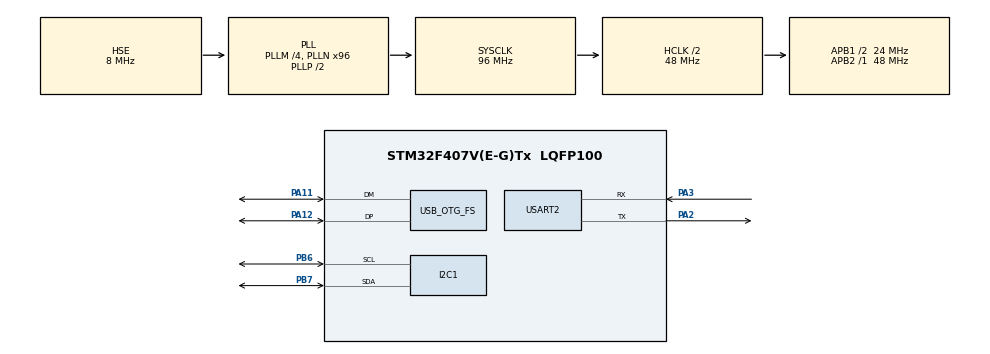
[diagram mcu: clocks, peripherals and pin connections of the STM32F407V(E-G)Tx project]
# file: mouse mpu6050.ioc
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Mcu.Family=STM32F4
Mcu.Name=STM32F407V(E-G)Tx
Mcu.Package=LQFP100
NVIC.OTG_FS_IRQn=true\:0\:0\:false\:false\:true\:false
NVIC.PriorityGroup=NVIC_PRIORITYGROUP_0
NVIC.RCC_IRQn=true\:0\:0\:false\:false\:true\:true
NVIC.USART2_IRQn=true\:0\:0\:false\:false\:true\:true
PA11.Mode=Device_Only
PA11.Signal=USB_OTG_FS_DM
PA12.Mode=Device_Only
PA12.Signal=USB_OTG_FS_DP
PA13.Mode=Serial_Wire
PA13.Signal=SYS_JTMS-SWDIO
PA14.Mode=Serial_Wire
PA14.Signal=SYS_JTCK-SWCLK
PA2.Mode=Asynchronous
PA2.Signal=USART2_TX
PA3.Mode=Asynchronous
PA3.Signal=USART2_RX
PB6.Mode=I2C
PB6.Signal=I2C1_SCL
PB7.Mode=I2C
PB7.Signal=I2C1_SDA
PH0-OSC_IN.Mode=HSE-External-Oscillator
PH0-OSC_IN.Signal=RCC_OSC_IN
PH1-OSC_OUT.Mode=HSE-External-Oscillator
PH1-OSC_OUT.Signal=RCC_OSC_OUT
ProjectManager.HeapSize=0x200
ProjectManager.StackSize=0x400
ProjectManager.TargetToolchain=MDK-ARM V5
RCC.48MHZClocksFreq_Value=48000000
RCC.AHBCLKDivider=RCC_SYSCLK_DIV2
RCC.AHBFreq_Value=48000000
RCC.APB1CLKDivider=RCC_HCLK_DIV2
RCC.APB1Freq_Value=24000000
RCC.APB1TimFreq_Value=48000000
RCC.APB2Freq_Value=48000000
RCC.APB2TimFreq_Value=48000000
RCC.CortexFreq_Value=48000000
RCC.HCLKFreq_Value=48000000
RCC.HSE_VALUE=8000000
RCC.HSI_VALUE=16000000
RCC.LSE_VALUE=32768
RCC.PLLM=4
RCC.PLLN=96
RCC.SYSCLKFreq_VALUE=96000000
RCC.SYSCLKSource=RCC_SYSCLKSOURCE_PLLCLK
RCC.VCOOutputFreq_Value=192000000
USART2.VirtualMode=VM_ASYNC
USB_DEVICE.CLASS_NAME_FS=HID
USB_DEVICE.VirtualMode-HID_FS=Hid
USB_DEVICE.VirtualModeFS=Hid_FS
USB_OTG_FS.VirtualMode=Device_Only
VP_USB_DEVICE_VS_USB_DEVICE_HID_FS.Mode=HID_FS
board=STM32F4DISCOVERY

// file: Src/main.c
/**
  ******************************************************************************
  * File Name          : main.c
  * Description        : Main program body
  ******************************************************************************
  * This notice applies to any and all portions of this file
  * that are not between comment pairs USER CODE BEGIN and
  * USER CODE END. Other portions of this file, whether
  * inserted by the user or by software development tools
  * are owned by their respective copyright owners.
  *
  * Copyright (c) 2017 STMicroelectronics International N.V.
  * All rights reserved.
  *
  * Redistribution and use in source and binary forms, with or without
  * modification, are permitted, provided that the following conditions are met:
  *
  * 1. Redistribution of source code must retain the above copyright notice,
  *    this list of conditions and the following disclaimer.
  * 2. Redistributions in binary form must reproduce the above copyright notice,
  *    this list of conditions and the following disclaimer in the documentation
  *    and/or other materials provided with the distribution.
  * 3. Neither the name of STMicroelectronics nor the names of other
  *    contributors to this software may be used to endorse or promote products
  *    derived from this software without specific written permission.
  * 4. This software, including modifications and/or derivative works of this
  *    software, must execute solely and exclusively on microcontroller or
  *    microprocessor devices manufactured by or for STMicroelectronics.
  * 5. Redistribution and use of this software other than as permitted under
  *    this license is void and will automatically terminate your rights under
  *    this license.
  *
  * THIS SOFTWARE IS PROVIDED BY STMICROELECTRONICS AND CONTRIBUTORS "AS IS"
  * AND ANY EXPRESS, IMPLIED OR STATUTORY WARRANTIES, INCLUDING, BUT NOT
  * LIMITED TO, THE IMPLIED WARRANTIES OF MERCHANTABILITY, FITNESS FOR A
  * PARTICULAR PURPOSE AND NON-INFRINGEMENT OF THIRD PARTY INTELLECTUAL PROPERTY
  * RIGHTS ARE DISCLAIMED TO THE FULLEST EXTENT PERMITTED BY LAW. IN NO EVENT
  * SHALL STMICROELECTRONICS OR CONTRIBUTORS BE LIABLE FOR ANY DIRECT, INDIRECT,
  * INCIDENTAL, SPECIAL, EXEMPLARY, OR CONSEQUENTIAL DAMAGES (INCLUDING, BUT NOT
  * LIMITED TO, PROCUREMENT OF SUBSTITUTE GOODS OR SERVICES; LOSS OF USE, DATA,
  * OR PROFITS; OR BUSINESS INTERRUPTION) HOWEVER CAUSED AND ON ANY THEORY OF
  * LIABILITY, WHETHER IN CONTRACT, STRICT LIABILITY, OR TORT (INCLUDING
  * NEGLIGENCE OR OTHERWISE) ARISING IN ANY WAY OUT OF THE USE OF THIS SOFTWARE,
  * EVEN IF ADVISED OF THE POSSIBILITY OF SUCH DAMAGE.
  *
  ******************************************************************************
  */

#include "main.h"
#include "stm32f4xx_hal.h"
#include "usb_device.h"

/* USER CODE BEGIN Includes */
#include <math.h>
#include <usbd_hid.h>
extern USBD_HandleTypeDef hUsbDeviceFS;

/* USER CODE END Includes */

I2C_HandleTypeDef hi2c1;

UART_HandleTypeDef huart2;

/* USER CODE BEGIN PV */
/* Private variables ---------------------------------------------------------*/
int gyro_x, gyro_y, gyro_z;
int16_t acc_x, acc_y, acc_z, acc_total_vector;
long acc_x_cal, acc_y_cal, acc_z_cal;
int16_t acc_x_output = 0, acc_y_output = 0, acc_z_output = 0, gyro_x_output = 0, gyro_y_output = 0, gyro_z_output = 0;
int temperature;
int gyro_x_cal, gyro_y_cal, gyro_z_cal;

long loop_timer;
int angle_pitch, angle_roll;
int angle_pitch_buffer, angle_roll_buffer;
float angle_roll_acc, angle_pitch_acc;
float angle_pitch_output, angle_roll_output;

uint8_t button[4];   		                                   	// for usb hid mouse //

void set_MPU6050_registers(void);
void read_mpu_6050_data(void);

/* USER CODE END PV */

void SystemClock_Config(void);
static void MX_GPIO_Init(void);
static void MX_I2C1_Init(void);
static void MX_USART2_UART_Init(void);

/* USER CODE BEGIN PFP */
/* Private function prototypes -----------------------------------------------*/

/* USER CODE END PFP */

int main(void)
{

  /* MCU Configuration----------------------------------------------------------*/

  /* Reset of all peripherals, Initializes the Flash interface and the Systick. */
  HAL_Init();

  /* Configure the system clock */
  SystemClock_Config();

  /* Initialize all configured peripherals */
  MX_GPIO_Init();
  MX_I2C1_Init();
  MX_USART2_UART_Init();
  MX_USB_DEVICE_Init();

  /* USER CODE BEGIN 2 */
 	button[0] = 0;				// mouse button //
	button[1] = 0;				// mouse x 	//
	button[2] = 0;				// mouse y //
  button[3] = 0;				// mouse wheel //

    set_MPU6050_registers();

	for (int cal_int = 0; cal_int < 500 ; cal_int ++){                  //Run this code 500 times
    read_mpu_6050_data();                                             //Read the raw acc and gyro data from the MPU-6050
    gyro_x_cal += gyro_x;                                             //Add the gyro x-axis offset to the gyro_x_cal variable
    gyro_y_cal += gyro_y;                                             //Add the gyro y-axis offset to the gyro_y_cal variable
    gyro_z_cal += gyro_z;                                             //Add the gyro z-axis offset to the gyro_z_cal variable
    acc_x_cal += acc_x;                                               //Add the acc x-axis offset to the acc_x_cal variable
 		acc_y_cal += acc_y;                                               //Add the acc y-axis offset to the acc_y_cal variable
		acc_z_cal += acc_z;                                               //Add the acc z-axis offset to the acc_z_cal variable

		HAL_Delay(10);                                                    //Delay 10us
  }
  gyro_x_cal /= 500;                                                  //Divide the gyro_x_cal variable by 2000 to get the avarage offset
  gyro_y_cal /= 500;                                                  //Divide the gyro_y_cal variable by 2000 to get the avarage offset
  gyro_z_cal /= 500;                                                  //Divide the gyro_z_cal variable by 2000 to get the avarage offset
	acc_x_cal /= 500;
	acc_y_cal /= 500;
	acc_z_cal /= 500;
  /* USER CODE END 2 */

  /* Infinite loop */
  while (1)
  {

  /* USER CODE BEGIN 3 */
	read_mpu_6050_data();                                                // Read the data

  gyro_x -= gyro_x_cal;                                                //Subtract the offset calibration value from the raw gyro_x value
  gyro_y -= gyro_y_cal;                                                //Subtract the offset calibration value from the raw gyro_y value
  gyro_z -= gyro_z_cal;                                                //Subtract the offset calibration value from the raw gyro_z value

	acc_x -= acc_x_cal;
	acc_y -= acc_y_cal;
	acc_z -= acc_z_cal;

	acc_x_output = 0.3 * acc_x + 0.7 * acc_x_output;                     // Applying the complementary filter
	acc_y_output = 0.3 * acc_y + 0.7 * acc_y_output;
	acc_z_output = 0.3 * acc_z + 0.7 * acc_z_output;

	gyro_x_output = 0.3 * gyro_x + 0.7 * gyro_x_output;
	gyro_y_output = 0.3 * gyro_y + 0.7 * gyro_y_output;
	gyro_z_output = 0.3 * gyro_z + 0.7 * gyro_z_output;

	HAL_Delay(10);

	/*usb mouse*/

	//left//
	if(acc_y_output > 250 ) //&& acc_x_output > -50 && acc_y_output < 250 && acc_y_output > -150 )  /* DO THRESHOLDING AS PER YOUR CONDITIONS */
	{
   button[0] = 0;				// mouse button //
 	 button[1] = -10;				// mouse x 	//
   button[2] = 0;				// mouse y //
   button[3] = 0;				// mouse wheel //

		USBD_HID_SendReport(&hUsbDeviceFS, button, 4);
		HAL_Delay(10);
	}

	//right//
	else if(acc_y_output < -200) //&& acc_x_output > -50 && acc_y_output < 400 && acc_y_output > -250 )
	{
   button[0] = 0;				// mouse button //
 	 button[1] = 10;				// mouse x 	//
   button[2] = 0;				// mouse y //
   button[3] = 0;				// mouse wheel //

		USBD_HID_SendReport(&hUsbDeviceFS, button, 4);
		HAL_Delay(10);
	}

	//up//
	else if(acc_z_output > 400) //&& acc_x_output > -400 && acc_y_output < 150 && acc_y_output > 0 )
	{
	 HAL_Delay(20);
   button[0] = 0;				// mouse button //
 	 button[1] = 0;				// mouse x 	//
   button[2] = -10;				// mouse y //
   button[3] = 0;				// mouse wheel //

	 USBD_HID_SendReport(&hUsbDeviceFS, button, 4);
	 HAL_Delay(10);
	}

		//down//
	else if(acc_z_output < -400 ) //&& acc_x_output > -450 && acc_y_output < 50 && acc_y_output > -150 )
	{
   button[0] = 0;				// mouse button //
 	 button[1] = 0;				// mouse x 	//
   button[2] = 10;				// mouse y //
   button[3] = 0;				// mouse wheel //

		USBD_HID_SendReport(&hUsbDeviceFS, button, 4);
		HAL_Delay(10);
	}
		//stop//
	else if(acc_x_output < 200 && acc_x_output > -200 && acc_y_output < 200 && acc_y_output > -200)
	{
   button[0] = 0;				// mouse button //
 	 button[1] = 0;				// mouse x 	//
   button[2] = 0;				// mouse y //
   button[3] = 0;				// mouse wheel //

		USBD_HID_SendReport(&hUsbDeviceFS, button, 4);
		HAL_Delay(10);
	}

  }
  /* USER CODE END 3 */

}

/** System Clock Configuration
*/
void SystemClock_Config(void)
{

  RCC_OscInitTypeDef RCC_OscInitStruct;
  RCC_ClkInitTypeDef RCC_ClkInitStruct;

    /**Configure the main internal regulator output voltage
    */
  __HAL_RCC_PWR_CLK_ENABLE();

  __HAL_PWR_VOLTAGESCALING_CONFIG(PWR_REGULATOR_VOLTAGE_SCALE1);

    /**Initializes the CPU, AHB and APB busses clocks
    */
  RCC_OscInitStruct.OscillatorType = RCC_OSCILLATORTYPE_HSE;
  RCC_OscInitStruct.HSEState = RCC_HSE_ON;
  RCC_OscInitStruct.PLL.PLLState = RCC_PLL_ON;
  RCC_OscInitStruct.PLL.PLLSource = RCC_PLLSOURCE_HSE;
  RCC_OscInitStruct.PLL.PLLM = 4;
  RCC_OscInitStruct.PLL.PLLN = 96;
  RCC_OscInitStruct.PLL.PLLP = RCC_PLLP_DIV2;
  RCC_OscInitStruct.PLL.PLLQ = 4;
  if (HAL_RCC_OscConfig(&RCC_OscInitStruct) != HAL_OK)
  {
    _Error_Handler(__FILE__, __LINE__);
  }

    /**Initializes the CPU, AHB and APB busses clocks
    */
  RCC_ClkInitStruct.ClockType = RCC_CLOCKTYPE_HCLK|RCC_CLOCKTYPE_SYSCLK
                              |RCC_CLOCKTYPE_PCLK1|RCC_CLOCKTYPE_PCLK2;
  RCC_ClkInitStruct.SYSCLKSource = RCC_SYSCLKSOURCE_PLLCLK;
  RCC_ClkInitStruct.AHBCLKDivider = RCC_SYSCLK_DIV2;
  RCC_ClkInitStruct.APB1CLKDivider = RCC_HCLK_DIV2;
  RCC_ClkInitStruct.APB2CLKDivider = RCC_HCLK_DIV1;

  if (HAL_RCC_ClockConfig(&RCC_ClkInitStruct, FLASH_LATENCY_1) != HAL_OK)
  {
    _Error_Handler(__FILE__, __LINE__);
  }

    /**Configure the Systick interrupt time
    */
  HAL_SYSTICK_Config(HAL_RCC_GetHCLKFreq()/1000);

    /**Configure the Systick
    */
  HAL_SYSTICK_CLKSourceConfig(SYSTICK_CLKSOURCE_HCLK);

  /* SysTick_IRQn interrupt configuration */
  HAL_NVIC_SetPriority(SysTick_IRQn, 0, 0);
}

/* I2C1 init function */
static void MX_I2C1_Init(void)
{

  hi2c1.Instance = I2C1;
  hi2c1.Init.ClockSpeed = 100000;
  hi2c1.Init.DutyCycle = I2C_DUTYCYCLE_2;
  hi2c1.Init.OwnAddress1 = 0;
  hi2c1.Init.AddressingMode = I2C_ADDRESSINGMODE_7BIT;
  hi2c1.Init.DualAddressMode = I2C_DUALADDRESS_DISABLE;
  hi2c1.Init.OwnAddress2 = 0;
  hi2c1.Init.GeneralCallMode = I2C_GENERALCALL_DISABLE;
  hi2c1.Init.NoStretchMode = I2C_NOSTRETCH_DISABLE;
  if (HAL_I2C_Init(&hi2c1) != HAL_OK)
  {
    _Error_Handler(__FILE__, __LINE__);
  }

}

/* USART2 init function */
static void MX_USART2_UART_Init(void)
{

  huart2.Instance = USART2;
  huart2.Init.BaudRate = 115200;
  huart2.Init.WordLength = UART_WORDLENGTH_8B;
  huart2.Init.StopBits = UART_STOPBITS_1;
  huart2.Init.Parity = UART_PARITY_NONE;
  huart2.Init.Mode = UART_MODE_TX_RX;
  huart2.Init.HwFlowCtl = UART_HWCONTROL_NONE;
  huart2.Init.OverSampling = UART_OVERSAMPLING_16;
  if (HAL_UART_Init(&huart2) != HAL_OK)
  {
    _Error_Handler(__FILE__, __LINE__);
  }

}

/** Configure pins as
        * Analog
        * Input
        * Output
        * EVENT_OUT
        * EXTI
*/
static void MX_GPIO_Init(void)
{

  /* GPIO Ports Clock Enable */
  __HAL_RCC_GPIOH_CLK_ENABLE();
  __HAL_RCC_GPIOA_CLK_ENABLE();
  __HAL_RCC_GPIOB_CLK_ENABLE();

}

/* USER CODE BEGIN 4 */
//Subroutine for reading the raw gyro and accelerometer data
void read_mpu_6050_data(){

  uint8_t tempBuffer[14];

	tempBuffer[0] = 0x3B;
	HAL_I2C_Master_Transmit(&hi2c1,0x68<<1, tempBuffer, 1, 100);				 //Request the data burst

	HAL_I2C_Master_Receive(&hi2c1,0x68<<1, tempBuffer, 14, 100);				 //Request 14 bytes from the MPU-6050

  while( HAL_I2C_GetState(&hi2c1) == HAL_I2C_STATE_BUSY_RX);           //Wait until all the bytes are received

  acc_x = tempBuffer[0]<<8|tempBuffer[1];                                  //Add the low and high byte to the acc_x variable
  acc_y = tempBuffer[2]<<8|tempBuffer[3];                                  //Add the low and high byte to the acc_y variable
  acc_z = tempBuffer[4]<<8|tempBuffer[5];                                  //Add the low and high byte to the acc_z variable
  temperature = tempBuffer[6]<<8|tempBuffer[7];                            //Add the low and high byte to the temperature variable
  gyro_x = tempBuffer[8]<<8|tempBuffer[9];                                 //Add the low and high byte to the gyro_x variable
  gyro_y = tempBuffer[10]<<8|tempBuffer[11];                                 //Add the low and high byte to the gyro_y variable
  gyro_z = tempBuffer[12]<<8|tempBuffer[13];                                 //Add the low and high byte to the gyro_z variable

}

void set_MPU6050_registers()
{
	unsigned char tempBuffer1[2];
	unsigned char tempBuffer2[2];
	unsigned char tempBuffer3[2];
	tempBuffer1[0]=0x6B;	//Activate the MPU-6050
	tempBuffer1[1]=0x00;

	tempBuffer2[0]=0x1C;	//Configure the accelerometer (+/-8g)
	tempBuffer2[1]=0x10;

	tempBuffer3[0]=0x1B;	//Configure the gyro (500dps full scale)
	tempBuffer3[1]=0x08;

	HAL_I2C_Master_Transmit(&hi2c1,0x68<<1, tempBuffer1, 2, 100);
  HAL_Delay(20);
	HAL_I2C_Master_Transmit(&hi2c1,0x68<<1, tempBuffer2, 2, 100);
	HAL_Delay(20);
	HAL_I2C_Master_Transmit(&hi2c1,0x68<<1, tempBuffer3, 2, 100);
	HAL_Delay(20);
}

/* USER CODE END 4 */

void _Error_Handler(char * file, int line)
{
  while(1)
  {
  }
}

/************************ (C) COPYRIGHT STMicroelectronics *****END OF FILE****/
